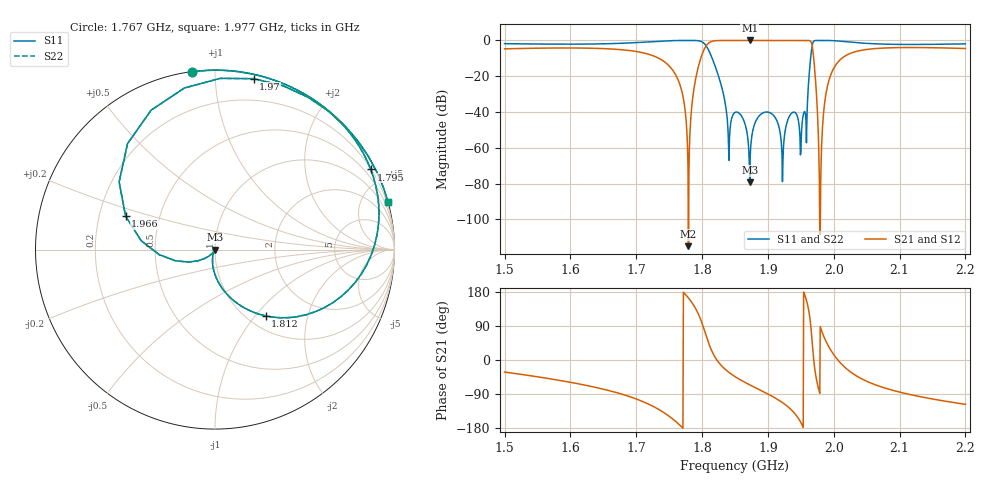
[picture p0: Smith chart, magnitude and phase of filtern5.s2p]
! Created Fri Nov 21 14:29:45 2014
# hz S ma R 50
! 2 Port Network Data from SP1.SP block
! freq  magS11  angS11  magS21  angS21  magS12  angS12  magS22  angS22
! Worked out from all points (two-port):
!   1001 points, 1.5 GHz to 2.2 GHz, reference 50 ohm
!   highest |S21| = 0.00 dB at 1.872 GHz (marker M1); lowest = -115.0 dB at 1.779 GHz (marker M2)
!   |S21| within 3 dB of the highest: 1.806 GHz to 1.967 GHz (161 MHz wide, 8.53 % of centre)
!   lowest |S11| = -79.2 dB at 1.872 GHz (marker M3), VSWR 1.00, Z = 50 - j0.0045 ohm
!   |S11| at or under -10 dB: 1.815 GHz to 1.965 GHz (149.5 MHz wide, 7.91 % of centre)
!   |S22| runs from -79.2 to 0.0 dB; largest |S21 - S12| = 0
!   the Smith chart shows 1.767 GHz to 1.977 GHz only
!   S11 on the Smith chart (normalised r, x): 1.767 GHz: 0.00, +0.88; 1.795 GHz: 0.22, +4.12; 1.812 GHz: 1.20, -1.13; 1.966 GHz: 0.31, +0.16; 1.97 GHz: 0.03, +1.25; 1.977 GHz: 0.00, +7.39
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1.5e9  0.8124 -121.8  0.5831 -31.8  0.5831 -31.8  0.8124 -121.8
1.6169e9  0.7897 -154.5  0.6135 -64.5  0.6135 -64.5  0.7897 -154.5
1.7338e9  0.9472 139.9  0.3206 -130.1  0.3206 -130.1  0.9472 139.9
1.7667e9  0.9985 97.2  0.05529 -172.8  0.05529 -172.8  0.9985 97.2
1.7793e9  1 73.7  1.785e-06 163.7  1.785e-06 163.7  1 73.7
1.7954e9  0.9759 27.2  0.2182 117.2  0.2182 117.2  0.9759 27.2
1.8115e9  0.4651 -52.6  0.8853 37.4  0.8853 37.4  0.4651 -52.6
1.8402e9  0.001075 -121.9  1 -31.9  1 -31.9  0.001075 -121.9
1.85e9  0.009738 46.2  1 -43.8  1 -43.8  0.009738 46.2
1.8724e9  0.000109 -155.6  1 -65.6  1 -65.6  0.000109 -155.6
1.8941e9  0.009737 -174.4  1 -84.4  1 -84.4  0.009737 -174.4
1.9221e9  0.0001135 157.6  1 -112.4  1 -112.4  0.0001135 157.6
1.9361e9  0.009325 -42.4  1 -132.4  1 -132.4  0.009325 -42.4
1.9501e9  0.0007806 105.0  1 -165.0  1 -165.0  0.0007806 105.0
1.9662e9  0.5317 159.5  0.8469 69.5  0.8469 69.5  0.5317 159.5
1.9669e9  0.6539 144.8  0.7566 54.8  0.7566 54.8  0.6539 144.8
1.9704e9  0.9765 77.2  0.2156 -12.8  0.2156 -12.8  0.9765 77.2
1.9767e9  1 15.4  0.002042 -74.6  0.002042 -74.6  1 15.4
1.9802e9  1 -5.7  0.0001034 84.3  0.0001034 84.3  1 -5.7
2.0047e9  0.9738 -86.7  0.2272 3.3  0.2272 3.3  0.9738 -86.7
2.0838e9  0.7834 -167.1  0.6216 -77.1  0.6216 -77.1  0.7834 -167.1
2.2e9  0.8025 153.0  0.5967 -117.0  0.5967 -117.0  0.8025 153.0
